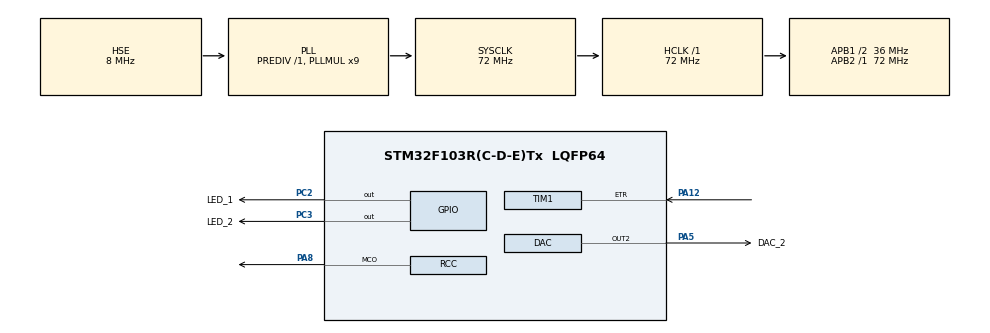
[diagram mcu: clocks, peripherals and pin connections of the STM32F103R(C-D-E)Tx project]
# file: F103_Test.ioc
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Mcu.Family=STM32F1
RCC.PLLSourceVirtual=RCC_PLLSOURCE_HSE
Dma.DAC_CH2.0.Mode=DMA_CIRCULAR
PD1-OSC_OUT.Mode=HSE-External-Oscillator
DAC.DAC_OutputBuffer2=DAC_OUTPUTBUFFER_DISABLE
SH.S_TIM1_ETR.0=TIM1_ETR,ClockSourceETR_Mode2
PC2.Signal=GPIO_Output
VP_TIM6_VS_ClockSourceINT.Mode=Enable_Timer
PD0-OSC_IN.Signal=RCC_OSC_IN
RCC.APB1CLKDivider=RCC_HCLK_DIV2
RCC.SYSCLKSource=RCC_SYSCLKSOURCE_PLLCLK
ProjectManager.StackSize=0x400
SH.COMP_DAC2_group.0=DAC_OUT2,DAC_OUT2
PD1-OSC_OUT.Signal=RCC_OSC_OUT
Dma.DAC_CH2.0.MemDataAlignment=DMA_MDATAALIGN_HALFWORD
PA13.Signal=SYS_JTMS-SWDIO
PA12.Signal=S_TIM1_ETR
ProjectManager.TargetToolchain=Makefile
RCC.HCLKFreq_Value=72000000
RCC.APB2TimFreq_Value=72000000
TIM3.Period=9999
Dma.DAC_CH2.0.Instance=DMA2_Channel4
PC3.Signal=GPIO_Output
RCC.USBFreq_Value=72000000
RCC.AHBFreq_Value=72000000
PD0-OSC_IN.Mode=HSE-External-Oscillator
PA5.Signal=COMP_DAC2_group
board=custom
RCC.PLLMUL=RCC_PLL_MUL9
NVIC.TIM3_IRQn=true\:1\:3\:true\:false\:true\:true\:true
Dma.DAC_CH2.0.Priority=DMA_PRIORITY_HIGH
DAC.DAC_Trigger2=DAC_TRIGGER_T6_TRGO
Dma.DAC_CH2.0.PeriphDataAlignment=DMA_PDATAALIGN_HALFWORD
RCC.APB2Freq_Value=72000000
PA14.Mode=Serial_Wire
TIM3.Prescaler=7200-1
TIM6.TIM_MasterOutputTrigger=TIM_TRGO_UPDATE
RCC.RCC_MCOSource=RCC_MCO1SOURCE_HSE
PA8.Signal=RCC_MCO
TIM6.Period=39
PA13.Mode=Serial_Wire
Mcu.Name=STM32F103R(C-D-E)Tx
Dma.DAC_CH2.0.Direction=DMA_MEMORY_TO_PERIPH
Dma.DAC_CH2.0.PeriphInc=DMA_PINC_DISABLE
RCC.SYSCLKFreq_VALUE=72000000
Mcu.Package=LQFP64
PA5.GPIO_Label=DAC_2
PA14.Signal=SYS_JTCK-SWCLK
ProjectManager.HeapSize=0x200
NVIC.PriorityGroup=NVIC_PRIORITYGROUP_1
RCC.APB1TimFreq_Value=72000000
PC3.GPIO_Label=LED_2
PA8.Mode=Clock-out
NVIC.DMA2_Channel4_5_IRQn=true\:0\:1\:false\:false\:true\:false\:true
PA12.GPIO_PuPd=GPIO_PULLDOWN
Dma.Request0=DAC_CH2
RCC.APB1Freq_Value=36000000
PA5.GPIO_Mode=GPIO_MODE_ANALOG
Dma.DAC_CH2.0.MemInc=DMA_MINC_ENABLE
PC2.GPIO_Label=LED_1
PA8.GPIO_Speed=GPIO_SPEED_FREQ_HIGH
VP_TIM3_VS_ClockSourceINT.Mode=Internal
PC3.GPIO_PuPd=GPIO_PULLUP

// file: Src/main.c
/* USER CODE BEGIN Header */
/**
 ******************************************************************************
 * @file           : main.c
 * @brief        : Main program body
 ******************************************************************************
 * @attention
 *
 * <h2><center>&copy; Copyright (c) 2019 STMicroelectronics.
 * All rights reserved.</center></h2>
 *
 * This software component is licensed by ST under BSD 3-Clause license,
 * the "License"; You may not use this file except in compliance with the
 * License. You may obtain a copy of the License at:
 *                        opensource.org/licenses/BSD-3-Clause
 *
 ******************************************************************************
 */
/* USER CODE END Header */

#include "main.h"

DAC_HandleTypeDef hdac;
DMA_HandleTypeDef hdma_dac_ch2;

TIM_HandleTypeDef htim1;
TIM_HandleTypeDef htim3;
TIM_HandleTypeDef htim6;

/* USER CODE BEGIN PV */
uint16_t CH_Value[320] = {
    2048, 2088, 2129, 2169, 2209, 2249, 2289, 2329, 2369, 2409, 2449, 2488, 2528, 2567, 2606, 2644, 2683, 2721, 2759,
    2797, 2834, 2871, 2908, 2944, 2980, 3016, 3052, 3087, 3121, 3155, 3189, 3222, 3255, 3287, 3319, 3351, 3382, 3412,
    3442, 3471, 3500, 3528, 3555, 3582, 3609, 3635, 3660, 3684, 3708, 3732, 3754, 3776, 3798, 3818, 3838, 3857, 3876,
    3894, 3911, 3927, 3943, 3958, 3972, 3986, 3998, 4010, 4021, 4032, 4041, 4050, 4058, 4066, 4072, 4078, 4083, 4087,
    4090, 4093, 4095, 4095, 4095, 4095, 4094, 4092, 4089, 4085, 4081, 4075, 4069, 4062, 4054, 4046, 4037, 4027, 4016,
    4004, 3992, 3979, 3965, 3951, 3935, 3919, 3902, 3885, 3867, 3848, 3828, 3808, 3787, 3765, 3743, 3720, 3697, 3672,
    3647, 3622, 3596, 3569, 3542, 3514, 3485, 3456, 3427, 3397, 3366, 3335, 3303, 3271, 3239, 3206, 3172, 3138, 3104,
    3069, 3034, 2998, 2962, 2926, 2890, 2853, 2815, 2778, 2740, 2702, 2664, 2625, 2586, 2547, 2508, 2469, 2429, 2389,
    2349, 2309, 2269, 2229, 2189, 2149, 2108, 2068, 2028, 1988, 1947, 1907, 1867, 1827, 1787, 1747, 1707, 1667, 1627,
    1588, 1549, 1510, 1471, 1432, 1394, 1356, 1318, 1281, 1243, 1206, 1170, 1134, 1098, 1062, 1027, 992,  958,  924,
    890,  857,  825,  793,  761,  730,  699,  669,  640,  611,  582,  554,  527,  500,  474,  449,  424,  399,  376,
    353,  331,  309,  288,  268,  248,  229,  211,  194,  177,  161,  145,  131,  117,  104,  92,   80,   69,   59,
    50,   42,   34,   27,   21,   15,   11,   7,    4,    2,    1,    0,    0,    1,    3,    6,    9,    13,   18,
    24,   30,   38,   46,   55,   64,   75,   86,   98,   110,  124,  138,  153,  169,  185,  202,  220,  239,  258,
    278,  298,  320,  342,  364,  388,  412,  436,  461,  487,  514,  541,  568,  596,  625,  654,  684,  714,  745,
    777,  809,  841,  874,  907,  941,  975,  1009, 1044, 1080, 1116, 1152, 1188, 1225, 1262, 1299, 1337, 1375, 1413,
    1452, 1490, 1529, 1568, 1608, 1647, 1687, 1727, 1767, 1807, 1847, 1887, 1927, 1967, 2008, 2048};
uint32_t CNT = 0;
/* USER CODE END PV */

void SystemClock_Config(void);
static void MX_GPIO_Init(void);
static void MX_DMA_Init(void);
static void MX_DAC_Init(void);
static void MX_TIM3_Init(void);
static void MX_TIM6_Init(void);
static void MX_TIM1_Init(void);
/* USER CODE BEGIN PFP */
void Test(void);
/* USER CODE END PFP */

int main(void)
{

  /* MCU Configuration--------------------------------------------------------*/

  /* Reset of all peripherals, Initializes the Flash interface and the Systick. */
  HAL_Init();

  /* USER CODE BEGIN Init */
  DEBUG_USART_Config();
  ILI9341_Init();
  /* USER CODE END Init */

  /* Configure the system clock */
  SystemClock_Config();

  /* Initialize all configured peripherals */
  MX_GPIO_Init();
  MX_DMA_Init();
  MX_DAC_Init();
  MX_TIM3_Init();
  MX_TIM6_Init();
  MX_TIM1_Init();
  /* USER CODE BEGIN 2 */
  HAL_TIM_Base_Start(&htim1);
  HAL_TIM_Base_Start(&htim3);
  HAL_TIM_Base_Start(&htim6);
  HAL_TIM_Base_Start_IT(&htim3);
  HAL_DAC_Start_DMA(&hdac, DAC_CHANNEL_2, (uint32_t *)CH_Value, 320, DAC_ALIGN_12B_R);
  /* USER CODE END 2 */

  /* Infinite loop */
  /* USER CODE BEGIN WHILE */
  while (1)
  {
    Test();
    /* USER CODE END WHILE */

    /* USER CODE BEGIN 3 */
    HAL_GPIO_TogglePin(LED_1_GPIO_Port, LED_1_Pin);
    //printf("This is a test!");
    HAL_Delay(200);
    HAL_GPIO_TogglePin(LED_1_GPIO_Port, LED_1_Pin);
    HAL_Delay(200);
    HAL_GPIO_TogglePin(LED_2_GPIO_Port, LED_2_Pin);
    HAL_Delay(200);
    HAL_GPIO_TogglePin(LED_2_GPIO_Port, LED_2_Pin);
    HAL_Delay(200);
  }
  /* USER CODE END 3 */
}

void SystemClock_Config(void)
{
  RCC_OscInitTypeDef RCC_OscInitStruct = {0};
  RCC_ClkInitTypeDef RCC_ClkInitStruct = {0};

  /** Initializes the CPU, AHB and APB busses clocks
  */
  RCC_OscInitStruct.OscillatorType = RCC_OSCILLATORTYPE_HSE;
  RCC_OscInitStruct.HSEState = RCC_HSE_ON;
  RCC_OscInitStruct.HSEPredivValue = RCC_HSE_PREDIV_DIV1;
  RCC_OscInitStruct.HSIState = RCC_HSI_ON;
  RCC_OscInitStruct.PLL.PLLState = RCC_PLL_ON;
  RCC_OscInitStruct.PLL.PLLSource = RCC_PLLSOURCE_HSE;
  RCC_OscInitStruct.PLL.PLLMUL = RCC_PLL_MUL9;
  if (HAL_RCC_OscConfig(&RCC_OscInitStruct) != HAL_OK)
  {
    Error_Handler();
  }
  /** Initializes the CPU, AHB and APB busses clocks
  */
  RCC_ClkInitStruct.ClockType = RCC_CLOCKTYPE_HCLK|RCC_CLOCKTYPE_SYSCLK
                              |RCC_CLOCKTYPE_PCLK1|RCC_CLOCKTYPE_PCLK2;
  RCC_ClkInitStruct.SYSCLKSource = RCC_SYSCLKSOURCE_PLLCLK;
  RCC_ClkInitStruct.AHBCLKDivider = RCC_SYSCLK_DIV1;
  RCC_ClkInitStruct.APB1CLKDivider = RCC_HCLK_DIV2;
  RCC_ClkInitStruct.APB2CLKDivider = RCC_HCLK_DIV1;

  if (HAL_RCC_ClockConfig(&RCC_ClkInitStruct, FLASH_LATENCY_2) != HAL_OK)
  {
    Error_Handler();
  }
}

static void MX_DAC_Init(void)
{

  DAC_ChannelConfTypeDef sConfig = {0};

  /** DAC Initialization
  */
  hdac.Instance = DAC;
  if (HAL_DAC_Init(&hdac) != HAL_OK)
  {
    Error_Handler();
  }
  /** DAC channel OUT2 config
  */
  sConfig.DAC_Trigger = DAC_TRIGGER_T6_TRGO;
  sConfig.DAC_OutputBuffer = DAC_OUTPUTBUFFER_DISABLE;
  if (HAL_DAC_ConfigChannel(&hdac, &sConfig, DAC_CHANNEL_2) != HAL_OK)
  {
    Error_Handler();
  }

}

static void MX_TIM1_Init(void)
{

  TIM_ClockConfigTypeDef sClockSourceConfig = {0};
  TIM_MasterConfigTypeDef sMasterConfig = {0};

  htim1.Instance = TIM1;
  htim1.Init.Prescaler = 0;
  htim1.Init.CounterMode = TIM_COUNTERMODE_UP;
  htim1.Init.Period = 0;
  htim1.Init.ClockDivision = TIM_CLOCKDIVISION_DIV1;
  htim1.Init.RepetitionCounter = 0;
  htim1.Init.AutoReloadPreload = TIM_AUTORELOAD_PRELOAD_DISABLE;
  if (HAL_TIM_Base_Init(&htim1) != HAL_OK)
  {
    Error_Handler();
  }
  sClockSourceConfig.ClockSource = TIM_CLOCKSOURCE_ETRMODE2;
  sClockSourceConfig.ClockPolarity = TIM_CLOCKPOLARITY_NONINVERTED;
  sClockSourceConfig.ClockPrescaler = TIM_CLOCKPRESCALER_DIV1;
  sClockSourceConfig.ClockFilter = 0;
  if (HAL_TIM_ConfigClockSource(&htim1, &sClockSourceConfig) != HAL_OK)
  {
    Error_Handler();
  }
  sMasterConfig.MasterOutputTrigger = TIM_TRGO_RESET;
  sMasterConfig.MasterSlaveMode = TIM_MASTERSLAVEMODE_DISABLE;
  if (HAL_TIMEx_MasterConfigSynchronization(&htim1, &sMasterConfig) != HAL_OK)
  {
    Error_Handler();
  }

}

static void MX_TIM3_Init(void)
{

  TIM_ClockConfigTypeDef sClockSourceConfig = {0};
  TIM_MasterConfigTypeDef sMasterConfig = {0};

  htim3.Instance = TIM3;
  htim3.Init.Prescaler = 7200-1;
  htim3.Init.CounterMode = TIM_COUNTERMODE_UP;
  htim3.Init.Period = 9999;
  htim3.Init.ClockDivision = TIM_CLOCKDIVISION_DIV1;
  htim3.Init.AutoReloadPreload = TIM_AUTORELOAD_PRELOAD_DISABLE;
  if (HAL_TIM_Base_Init(&htim3) != HAL_OK)
  {
    Error_Handler();
  }
  sClockSourceConfig.ClockSource = TIM_CLOCKSOURCE_INTERNAL;
  if (HAL_TIM_ConfigClockSource(&htim3, &sClockSourceConfig) != HAL_OK)
  {
    Error_Handler();
  }
  sMasterConfig.MasterOutputTrigger = TIM_TRGO_RESET;
  sMasterConfig.MasterSlaveMode = TIM_MASTERSLAVEMODE_DISABLE;
  if (HAL_TIMEx_MasterConfigSynchronization(&htim3, &sMasterConfig) != HAL_OK)
  {
    Error_Handler();
  }

}

static void MX_TIM6_Init(void)
{

  TIM_MasterConfigTypeDef sMasterConfig = {0};

  htim6.Instance = TIM6;
  htim6.Init.Prescaler = 0;
  htim6.Init.CounterMode = TIM_COUNTERMODE_UP;
  htim6.Init.Period = 39;
  htim6.Init.AutoReloadPreload = TIM_AUTORELOAD_PRELOAD_DISABLE;
  if (HAL_TIM_Base_Init(&htim6) != HAL_OK)
  {
    Error_Handler();
  }
  sMasterConfig.MasterOutputTrigger = TIM_TRGO_UPDATE;
  sMasterConfig.MasterSlaveMode = TIM_MASTERSLAVEMODE_DISABLE;
  if (HAL_TIMEx_MasterConfigSynchronization(&htim6, &sMasterConfig) != HAL_OK)
  {
    Error_Handler();
  }

}

static void MX_DMA_Init(void)
{

  /* DMA controller clock enable */
  __HAL_RCC_DMA2_CLK_ENABLE();

  /* DMA interrupt init */
  /* DMA2_Channel4_5_IRQn interrupt configuration */
  HAL_NVIC_SetPriority(DMA2_Channel4_5_IRQn, 0, 1);
  HAL_NVIC_EnableIRQ(DMA2_Channel4_5_IRQn);

}

static void MX_GPIO_Init(void)
{
  GPIO_InitTypeDef GPIO_InitStruct = {0};

  /* GPIO Ports Clock Enable */
  __HAL_RCC_GPIOD_CLK_ENABLE();
  __HAL_RCC_GPIOC_CLK_ENABLE();
  __HAL_RCC_GPIOA_CLK_ENABLE();

  /*Configure GPIO pin Output Level */
  HAL_GPIO_WritePin(GPIOC, LED_1_Pin|LED_2_Pin, GPIO_PIN_RESET);

  /*Configure GPIO pin : LED_1_Pin */
  GPIO_InitStruct.Pin = LED_1_Pin;
  GPIO_InitStruct.Mode = GPIO_MODE_OUTPUT_PP;
  GPIO_InitStruct.Pull = GPIO_NOPULL;
  GPIO_InitStruct.Speed = GPIO_SPEED_FREQ_LOW;
  HAL_GPIO_Init(LED_1_GPIO_Port, &GPIO_InitStruct);

  /*Configure GPIO pin : LED_2_Pin */
  GPIO_InitStruct.Pin = LED_2_Pin;
  GPIO_InitStruct.Mode = GPIO_MODE_OUTPUT_PP;
  GPIO_InitStruct.Pull = GPIO_PULLUP;
  GPIO_InitStruct.Speed = GPIO_SPEED_FREQ_LOW;
  HAL_GPIO_Init(LED_2_GPIO_Port, &GPIO_InitStruct);

}

/* USER CODE BEGIN 4 */

void Test(void)
{
  static uint8_t testint = 0;
  static float testfloat = 0;
  int a, b;
  char dispBuff[100];
  char *pStr = 0;

  testint++;
  testfloat += 0.01;

  LCD_SetFont(&Font8x16);
  LCD_SetColors(BLACK, WHITE);
  ILI9341_Clear(0, 0, LCD_X_LENGTH, LCD_Y_LENGTH);

  sprintf(dispBuff, "INT:%d", testint);
  LCD_ClearLine(LINE(5));
  ILI9341_DispStringLine_EN(LINE(5), dispBuff);

  sprintf(dispBuff, "Frequency:%d", CNT);
  LCD_ClearLine(LINE(7));
  ILI9341_DispStringLine_EN(LINE(7), dispBuff);

  a = (int)testfloat * 1000;
  b = testfloat * 1000 - a;
  sprintf(dispBuff, "FLOAT:%d.%03d", (int)testfloat, b);
  LCD_ClearLine(LINE(6));
  ILI9341_DispStringLine_EN(LINE(6), dispBuff);

  LCD_SetFont(&Font24x32);
  LCD_SetTextColor(BLUE);
  pStr = "TT";
  sprintf(dispBuff, "%*c%s", ((LCD_X_LENGTH / (((sFONT *)LCD_GetFont())->Width)) - strlen(pStr)) / 2, ' ', pStr);
  LCD_ClearLine(LINE(9));
  ILI9341_DispStringLine_EN(LINE(9), dispBuff);

  if (testint >= 100)
    testint = 0;
  if (testfloat >= 100.00)
    testfloat = 0;
}
/* USER CODE END 4 */

void Error_Handler(void)
{
}

#ifdef  USE_FULL_ASSERT
/**
  * @brief  Reports the name of the source file and the source line number
  *         where the assert_param error has occurred.
  * @param  file: pointer to the source file name
  * @param  line: assert_param error line source number
  * @retval None
  */
void assert_failed(uint8_t *file, uint32_t line)
{
  /* USER CODE BEGIN 6 */
  /* User can add his own implementation to report the file name and line
   number, tex: printf("Wrong parameters value: file %s on line %d\r\n", file,
   line) */
  /* USER CODE END 6 */
}
#endif /* USE_FULL_ASSERT */

/************************ (C) COPYRIGHT STMicroelectronics *****END OF FILE****/
